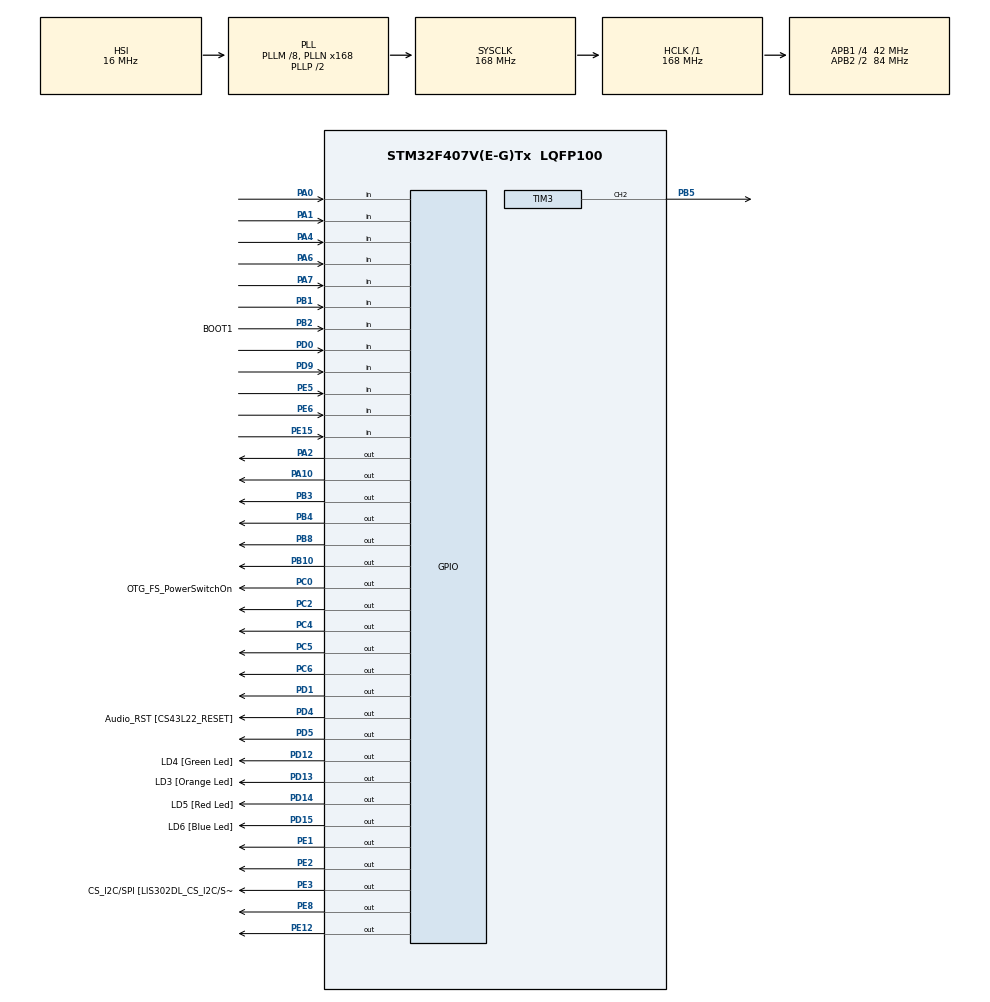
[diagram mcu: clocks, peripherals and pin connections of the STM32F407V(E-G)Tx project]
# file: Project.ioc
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Mcu.Family=STM32F4
Mcu.Name=STM32F407V(E-G)Tx
Mcu.Package=LQFP100
NVIC.PriorityGroup=NVIC_PRIORITYGROUP_0
PA0-WKUP.GPIO_PuPd=GPIO_PULLUP
PA0-WKUP.Signal=GPIO_Input
PA1.GPIO_PuPd=GPIO_PULLUP
PA1.Signal=GPIO_Input
PA10.PinState=GPIO_PIN_SET
PA10.Signal=GPIO_Output
PA11.GPIO_Label=OTG_FS_DM
PA11.GPIO_Mode=GPIO_MODE_AF_PP
PA11.GPIO_PuPd=GPIO_NOPULL
PA11.GPIO_Speed=GPIO_SPEED_FREQ_LOW
PA11.Signal=USB_OTG_FS_DM
PA12.GPIO_Label=OTG_FS_DP
PA12.GPIO_Mode=GPIO_MODE_AF_PP
PA12.GPIO_PuPd=GPIO_NOPULL
PA12.GPIO_Speed=GPIO_SPEED_FREQ_LOW
PA12.Signal=USB_OTG_FS_DP
PA13.GPIO_Label=SWDIO
PA13.Signal=SYS_JTMS-SWDIO
PA14.GPIO_Label=SWCLK
PA14.Signal=SYS_JTCK-SWCLK
PA2.Signal=GPIO_Output
PA4.GPIO_PuPd=GPIO_PULLUP
PA4.Signal=GPIO_Input
PA5.GPIO_Label=SPI1_SCK [LIS302DL_SCL/SPC]
PA5.GPIO_Mode=GPIO_MODE_AF_PP
PA5.GPIO_PuPd=GPIO_NOPULL
PA5.GPIO_Speed=GPIO_SPEED_FREQ_LOW
PA5.Signal=SPI1_SCK
PA6.GPIO_PuPd=GPIO_PULLUP
PA6.Signal=GPIO_Input
PA7.GPIO_PuPd=GPIO_PULLUP
PA7.Signal=GPIO_Input
PB1.GPIO_PuPd=GPIO_PULLUP
PB1.Signal=GPIO_Input
PB10.PinState=GPIO_PIN_RESET
PB10.Signal=GPIO_Output
PB2.GPIO_Label=BOOT1
PB2.GPIO_Mode=GPIO_MODE_INPUT
PB2.GPIO_PuPd=GPIO_NOPULL
PB2.Signal=GPIO_Input
PB3.GPIO_ModeDefaultOutputPP=GPIO_MODE_OUTPUT_PP
PB3.PinState=GPIO_PIN_SET
PB3.Signal=GPIO_Output
PB4.PinState=GPIO_PIN_SET
PB4.Signal=GPIO_Output
PB5.Signal=S_TIM3_CH2
PB6.GPIO_Label=Audio_SCL [CS43L22_SCL]
PB6.GPIO_Mode=GPIO_MODE_AF_OD
PB6.GPIO_PuPd=GPIO_NOPULL
PB6.GPIO_Speed=GPIO_SPEED_FREQ_LOW
PB6.Signal=I2C1_SCL
PB8.PinState=GPIO_PIN_SET
PB8.Signal=GPIO_Output
PB9.GPIO_Label=Audio_SDA [CS43L22_SDA]
PB9.GPIO_Mode=GPIO_MODE_AF_OD
PB9.GPIO_PuPd=GPIO_NOPULL
PB9.GPIO_Speed=GPIO_SPEED_FREQ_LOW
PB9.Signal=I2C1_SDA
PC0.GPIO_Label=OTG_FS_PowerSwitchOn
PC0.GPIO_PuPd=GPIO_NOPULL
PC0.GPIO_Speed=GPIO_SPEED_FREQ_LOW
PC0.PinState=GPIO_PIN_SET
PC0.Signal=GPIO_Output
PC10.GPIO_Label=I2S3_SCK [CS43L22_SCLK]
PC10.GPIO_Mode=GPIO_MODE_AF_PP
PC10.GPIO_PuPd=GPIO_NOPULL
PC10.GPIO_Speed=GPIO_SPEED_FREQ_LOW
PC10.Signal=I2S3_CK
PC12.GPIO_Label=I2S3_SD [CS43L22_SDIN]
PC12.GPIO_Mode=GPIO_MODE_AF_PP
PC12.GPIO_PuPd=GPIO_NOPULL
PC12.GPIO_Speed=GPIO_SPEED_FREQ_LOW
PC12.Signal=I2S3_SD
PC14-OSC32_IN.GPIO_Label=PC14-OSC32_IN
PC14-OSC32_IN.Signal=RCC_OSC32_IN
PC15-OSC32_OUT.GPIO_Label=PC15-OSC32_OUT
PC15-OSC32_OUT.Signal=RCC_OSC32_OUT
PC2.Signal=GPIO_Output
PC3.GPIO_Label=PDM_OUT [MP45DT02_DOUT]
PC3.GPIO_Mode=GPIO_MODE_AF_PP
PC3.GPIO_PuPd=GPIO_NOPULL
PC3.GPIO_Speed=GPIO_SPEED_FREQ_LOW
PC3.Signal=I2S2_SD
PC4.Signal=GPIO_Output
PC5.Signal=GPIO_Output
PC6.Signal=GPIO_Output
PC7.GPIO_Label=I2S3_MCK [CS43L22_MCLK]
PC7.GPIO_Mode=GPIO_MODE_AF_PP
PC7.GPIO_PuPd=GPIO_NOPULL
PC7.GPIO_Speed=GPIO_SPEED_FREQ_LOW
PC7.Signal=I2S3_MCK
PD0.GPIO_PuPd=GPIO_PULLUP
PD0.Signal=GPIO_Input
PD1.PinState=GPIO_PIN_SET
PD1.Signal=GPIO_Output
PD12.GPIO_Label=LD4 [Green Led]
PD12.GPIO_PuPd=GPIO_NOPULL
PD12.GPIO_Speed=GPIO_SPEED_FREQ_LOW
PD12.Signal=GPIO_Output
PD13.GPIO_Label=LD3 [Orange Led]
PD13.GPIO_PuPd=GPIO_NOPULL
PD13.GPIO_Speed=GPIO_SPEED_FREQ_LOW
PD13.Signal=GPIO_Output
PD14.GPIO_Label=LD5 [Red Led]
PD14.GPIO_PuPd=GPIO_NOPULL
PD14.GPIO_Speed=GPIO_SPEED_FREQ_LOW
PD14.Signal=GPIO_Output
PD15.GPIO_Label=LD6 [Blue Led]
PD15.GPIO_PuPd=GPIO_NOPULL
PD15.GPIO_Speed=GPIO_SPEED_FREQ_LOW
PD15.Signal=GPIO_Output
PD4.GPIO_Label=Audio_RST [CS43L22_RESET]
PD4.GPIO_PuPd=GPIO_NOPULL
PD4.GPIO_Speed=GPIO_SPEED_FREQ_LOW
PD4.Signal=GPIO_Output
PD5.GPIO_ModeDefaultOutputPP=GPIO_MODE_OUTPUT_PP
PD5.GPIO_PuPd=GPIO_NOPULL
PD5.PinState=GPIO_PIN_SET
PD5.Signal=GPIO_Output
PD9.GPIO_PuPd=GPIO_PULLUP
PD9.Signal=GPIO_Input
PE1.Signal=GPIO_Output
PE12.Signal=GPIO_Output
PE15.GPIO_PuPd=GPIO_PULLUP
PE15.Signal=GPIO_Input
PE2.PinState=GPIO_PIN_SET
PE2.Signal=GPIO_Output
PE3.GPIO_Label=CS_I2C/SPI [LIS302DL_CS_I2C/SPI]
PE3.GPIO_PuPd=GPIO_NOPULL
PE3.GPIO_Speed=GPIO_SPEED_FREQ_LOW
PE3.Signal=GPIO_Output
PE5.GPIO_PuPd=GPIO_PULLUP
PE5.Signal=GPIO_Input
PE6.GPIO_PuPd=GPIO_PULLUP
PE6.Signal=GPIO_Input
PE8.Signal=GPIO_Output
PH0-OSC_IN.GPIO_Label=PH0-OSC_IN
PH0-OSC_IN.Signal=RCC_OSC_IN
PH1-OSC_OUT.GPIO_Label=PH1-OSC_OUT
PH1-OSC_OUT.Signal=RCC_OSC_OUT
ProjectManager.HeapSize=0x200
ProjectManager.StackSize=0x400
ProjectManager.TargetToolchain=STM32CubeIDE
RCC.48MHZClocksFreq_Value=48000000
RCC.AHBFreq_Value=168000000
RCC.APB1CLKDivider=RCC_HCLK_DIV4
RCC.APB1Freq_Value=42000000
RCC.APB1TimFreq_Value=84000000
RCC.APB2CLKDivider=RCC_HCLK_DIV2
RCC.APB2Freq_Value=84000000
RCC.APB2TimFreq_Value=168000000
RCC.CortexFreq_Value=168000000
RCC.HCLKFreq_Value=168000000
RCC.HSE_VALUE=8000000
RCC.HSI_VALUE=16000000
RCC.LSE_VALUE=32768
RCC.PLLM=8
RCC.PLLN=168
RCC.PLLQ=7
RCC.SYSCLKFreq_VALUE=168000000
RCC.SYSCLKSource=RCC_SYSCLKSOURCE_PLLCLK
RCC.VCOOutputFreq_Value=336000000
SH.S_TIM3_CH2.0=TIM3_CH2,PWM Generation2 CH2
TIM3.Channel-PWM\ Generation2\ CH2=TIM_CHANNEL_2
TIM3.Period=999
TIM3.Prescaler=167
VP_TIM3_VS_ClockSourceINT.Mode=Internal
board=STM32F407G-DISC1

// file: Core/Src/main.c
/* USER CODE BEGIN Header */
/**
  ******************************************************************************
  * @file           : main.c
  * @brief          : Main program body
  ******************************************************************************
  * @attention
  *
  * Copyright (c) 2026 STMicroelectronics.
  * All rights reserved.
  *
  * This software is licensed under terms that can be found in the LICENSE file
  * in the root directory of this software component.
  * If no LICENSE file comes with this software, it is provided AS-IS.
  *
  ******************************************************************************
  */
/* USER CODE END Header */
#include "main.h"

TIM_HandleTypeDef htim3;

/* USER CODE BEGIN PV */
#define FLOOR_1 1
#define FLOOR_2 2
#define FLOOR_3 3

// Motor Cruise Speed Boundaries (Out of 1000 ARR)
#define MOTOR_MIN_SPEED 295
#define MOTOR_MAX_SPEED 320

// --- MODULAR ALIGNMENT TIMINGS (Tweak these to align the lift perfectly!) ---
uint16_t f1_align_delay = 500; // Milliseconds motor keeps running after hitting IR1
uint16_t f2_align_delay = 500; // Milliseconds motor keeps running after hitting IR2
uint16_t f3_align_delay = 500; // Milliseconds motor keeps running after hitting IR3

// Elevator State Control Variables
uint8_t current_floor = 0;
uint8_t target_floor = 1;
uint8_t is_moving = 0;
uint8_t emergency_active = 0;
uint8_t display_initialized = 0;

// High-Reliability IR Sampling Filter Variables
uint16_t f1_debounce = 0;
uint16_t f2_debounce = 0;
uint16_t f3_debounce = 0;
#define IR_THRESHOLD 25

// 7-Segment Array Matrix (Common Anode Profile)
const uint8_t seg_matrix[4][7] = {
    {0, 0, 0, 0, 0, 0, 0}, // Index 0: Completely OFF
    {0, 1, 1, 0, 0, 0, 0}, // Index 1: Floor 1 (b, c)
    {1, 1, 0, 1, 1, 0, 1}, // Index 2: Floor 2 (a, b, d, e, g)
    {1, 1, 1, 1, 0, 0, 1}  // Index 3: Floor 3 (a, b, c, d, g)
};
/* USER CODE END PV */

void SystemClock_Config(void);
static void MX_GPIO_Init(void);
static void MX_TIM3_Init(void);
/* USER CODE BEGIN PFP */
extern TIM_HandleTypeDef htim3; // Link to CubeMX generated Timer 3

void Update_7Segment(uint8_t floor_num) {
    HAL_GPIO_WritePin(GPIOD, GPIO_PIN_5,  seg_matrix[floor_num][0] ? GPIO_PIN_RESET : GPIO_PIN_SET); // a
    HAL_GPIO_WritePin(GPIOE, GPIO_PIN_2,  seg_matrix[floor_num][1] ? GPIO_PIN_RESET : GPIO_PIN_SET); // b
    HAL_GPIO_WritePin(GPIOA, GPIO_PIN_10, seg_matrix[floor_num][2] ? GPIO_PIN_RESET : GPIO_PIN_SET); // c
    HAL_GPIO_WritePin(GPIOB, GPIO_PIN_3,  seg_matrix[floor_num][3] ? GPIO_PIN_RESET : GPIO_PIN_SET); // d
    HAL_GPIO_WritePin(GPIOB, GPIO_PIN_4,  seg_matrix[floor_num][4] ? GPIO_PIN_RESET : GPIO_PIN_SET); // e
    HAL_GPIO_WritePin(GPIOD, GPIO_PIN_1,  seg_matrix[floor_num][5] ? GPIO_PIN_RESET : GPIO_PIN_SET); // f
    HAL_GPIO_WritePin(GPIOB, GPIO_PIN_8,  seg_matrix[floor_num][6] ? GPIO_PIN_RESET : GPIO_PIN_SET); // g
}

void Set_Motor_Direction(uint8_t direction) {
    if (direction == 1) { // UP
        HAL_GPIO_WritePin(GPIOC, GPIO_PIN_5, GPIO_PIN_SET);   // IN3 = HIGH
        HAL_GPIO_WritePin(GPIOC, GPIO_PIN_6, GPIO_PIN_RESET); // IN4 = LOW
    } else if (direction == 2) { // DOWN
        HAL_GPIO_WritePin(GPIOC, GPIO_PIN_5, GPIO_PIN_RESET); // IN3 = LOW
        HAL_GPIO_WritePin(GPIOC, GPIO_PIN_6, GPIO_PIN_SET);   // IN4 = HIGH
    } else { // STOP
        HAL_GPIO_WritePin(GPIOC, GPIO_PIN_5, GPIO_PIN_RESET); // IN3 = LOW
        HAL_GPIO_WritePin(GPIOC, GPIO_PIN_6, GPIO_PIN_RESET); // IN4 = LOW
        __HAL_TIM_SET_COMPARE(&htim3, TIM_CHANNEL_2, 0);      // ENB PWM = 0
    }
}

void Start_Motor_With_Ramp(uint8_t direction) {
    Set_Motor_Direction(direction);
    for (uint16_t speed = MOTOR_MIN_SPEED; speed <= MOTOR_MAX_SPEED; speed += 5) {
        __HAL_TIM_SET_COMPARE(&htim3, TIM_CHANNEL_2, speed);
        HAL_Delay(20);
    }
}

void Clear_All_Floor_LEDs(void) {
    HAL_GPIO_WritePin(GPIOC, GPIO_PIN_4,  GPIO_PIN_RESET); // Floor 1 LED
    HAL_GPIO_WritePin(GPIOE, GPIO_PIN_12, GPIO_PIN_RESET); // Floor 2 LED
    HAL_GPIO_WritePin(GPIOA, GPIO_PIN_2,  GPIO_PIN_RESET); // Floor 3 LED
}
/* USER CODE END PFP */

int main(void)
{
  HAL_Init();
  SystemClock_Config();
  MX_GPIO_Init();
  MX_TIM3_Init();

  /* USER CODE BEGIN 2 */
    Clear_All_Floor_LEDs();
    HAL_GPIO_WritePin(GPIOE, GPIO_PIN_8,  GPIO_PIN_RESET); // Up LED
    HAL_GPIO_WritePin(GPIOB, GPIO_PIN_10, GPIO_PIN_RESET); // Down LED
    HAL_GPIO_WritePin(GPIOC, GPIO_PIN_2,  GPIO_PIN_RESET); // Emergency LED
    Update_7Segment(0);                                    // Display Blank
    Set_Motor_Direction(0);                                // Motor halted

    HAL_TIM_PWM_Start(&htim3, TIM_CHANNEL_2);
    HAL_Delay(1500); // Power-on safety window

    // SMART HOMING CONFIGURATION
    if (HAL_GPIO_ReadPin(GPIOA, GPIO_PIN_0) == GPIO_PIN_RESET) current_floor = FLOOR_1;
    else if (HAL_GPIO_ReadPin(GPIOA, GPIO_PIN_4) == GPIO_PIN_RESET) current_floor = FLOOR_2;
    else if (HAL_GPIO_ReadPin(GPIOA, GPIO_PIN_6) == GPIO_PIN_RESET) current_floor = FLOOR_3;

    if (current_floor != 0) {
        target_floor = FLOOR_1;
        display_initialized = 1;
    }
    else {
        Set_Motor_Direction(2); // Drive DOWN to hunt for home
        __HAL_TIM_SET_COMPARE(&htim3, TIM_CHANNEL_2, MOTOR_MIN_SPEED);

        uint32_t hunting_timeout = HAL_GetTick();
        uint8_t floor_found = 0;

        while (!floor_found) {
            if (HAL_GPIO_ReadPin(GPIOA, GPIO_PIN_0) == GPIO_PIN_RESET) { current_floor = FLOOR_1; floor_found = 1; }
            if (HAL_GPIO_ReadPin(GPIOA, GPIO_PIN_4) == GPIO_PIN_RESET) { current_floor = FLOOR_2; floor_found = 1; }
            if (HAL_GPIO_ReadPin(GPIOA, GPIO_PIN_6) == GPIO_PIN_RESET) { current_floor = FLOOR_3; floor_found = 1; }

            if ((HAL_GetTick() - hunting_timeout) > 4000) {
                Set_Motor_Direction(1); // Reverse UP if stuck below Floor 1
                __HAL_TIM_SET_COMPARE(&htim3, TIM_CHANNEL_2, MOTOR_MIN_SPEED);

                while (!floor_found) {
                    if (HAL_GPIO_ReadPin(GPIOA, GPIO_PIN_0) == GPIO_PIN_RESET) { current_floor = FLOOR_1; floor_found = 1; }
                    if (HAL_GPIO_ReadPin(GPIOA, GPIO_PIN_4) == GPIO_PIN_RESET) { current_floor = FLOOR_2; floor_found = 1; }
                    if (HAL_GPIO_ReadPin(GPIOA, GPIO_PIN_6) == GPIO_PIN_RESET) { current_floor = FLOOR_3; floor_found = 1; }
                }
            }
        }
        Set_Motor_Direction(0); // Brake immediately
        target_floor = FLOOR_1;
        display_initialized = 1;
    }
  /* USER CODE END 2 */

  while (1)
  {
    /* ---------------- 1. PRIORITY EMERGENCY MONITORING (PD9) ---------------- */
    if (HAL_GPIO_ReadPin(GPIOD, GPIO_PIN_9) == GPIO_PIN_RESET)
    {
        HAL_Delay(40);
        if (HAL_GPIO_ReadPin(GPIOD, GPIO_PIN_9) == GPIO_PIN_RESET)
        {
            emergency_active = 1;
            target_floor = FLOOR_1;
            if (current_floor > FLOOR_1) {
                HAL_GPIO_WritePin(GPIOC, GPIO_PIN_2, GPIO_PIN_SET);
            }
        }
    }

    /* ---------------- 2. PASSENGER INPUT STORAGE MATRIX ---------------- */
    if (!emergency_active && !is_moving)
    {
        if (HAL_GPIO_ReadPin(GPIOB, GPIO_PIN_1) == GPIO_PIN_RESET)   target_floor = FLOOR_1;
        else if (HAL_GPIO_ReadPin(GPIOE, GPIO_PIN_15) == GPIO_PIN_RESET) target_floor = FLOOR_2;
        else if (HAL_GPIO_ReadPin(GPIOD, GPIO_PIN_0) == GPIO_PIN_RESET)  target_floor = FLOOR_3;

        else if (HAL_GPIO_ReadPin(GPIOE, GPIO_PIN_5) == GPIO_PIN_RESET)  target_floor = FLOOR_1;
        else if (HAL_GPIO_ReadPin(GPIOA, GPIO_PIN_7) == GPIO_PIN_RESET)  target_floor = FLOOR_2;
        else if (HAL_GPIO_ReadPin(GPIOE, GPIO_PIN_6) == GPIO_PIN_RESET)  target_floor = FLOOR_2;
        else if (HAL_GPIO_ReadPin(GPIOA, GPIO_PIN_1) == GPIO_PIN_RESET)  target_floor = FLOOR_3;
    }

    /* ---------------- 3. CORE MOTION & REALTIME SENSOR SAMPLING ENGINE ---------------- */
    if (display_initialized)
    {
        Update_7Segment(current_floor);

        // CASE A: ELEVATOR RUNNING UPWARDS
        if (current_floor < target_floor)
        {
            if (!is_moving) {
                Clear_All_Floor_LEDs();
                HAL_GPIO_WritePin(GPIOE, GPIO_PIN_8, GPIO_PIN_SET);
                HAL_GPIO_WritePin(GPIOB, GPIO_PIN_10, GPIO_PIN_RESET);
                Start_Motor_With_Ramp(1);
                is_moving = 1;
            }

            uint8_t target_pin_state = 1;
            if (current_floor + 1 == FLOOR_2)      target_pin_state = HAL_GPIO_ReadPin(GPIOA, GPIO_PIN_4);
            else if (current_floor + 1 == FLOOR_3) target_pin_state = HAL_GPIO_ReadPin(GPIOA, GPIO_PIN_6);

            if (target_pin_state == GPIO_PIN_RESET) {
                f2_debounce++;
                if (f2_debounce >= IR_THRESHOLD) {
                    f2_debounce = 0;

                    // FIX: Mechanical Alignment occurs instantly for ANY floor hit
                    if (current_floor + 1 == FLOOR_2) HAL_Delay(f2_align_delay);
                    if (current_floor + 1 == FLOOR_3) HAL_Delay(f3_align_delay);

                    current_floor++; // Update floor position tracker

                    if (current_floor == target_floor) {
                        Set_Motor_Direction(0); // Brake at destination
                        is_moving = 0;
                    }
                }
            } else {
                f2_debounce = 0;
            }
        }

        // CASE B: ELEVATOR RUNNING DOWNWARDS
        else if (current_floor > target_floor)
        {
            if (!is_moving) {
                Clear_All_Floor_LEDs();
                HAL_GPIO_WritePin(GPIOE, GPIO_PIN_8, GPIO_PIN_RESET);
                HAL_GPIO_WritePin(GPIOB, GPIO_PIN_10, GPIO_PIN_SET);
                Start_Motor_With_Ramp(2);
                is_moving = 1;
            }

            uint8_t target_pin_state = 1;
            if (current_floor - 1 == FLOOR_2)      target_pin_state = HAL_GPIO_ReadPin(GPIOA, GPIO_PIN_4);
            else if (current_floor - 1 == FLOOR_1) target_pin_state = HAL_GPIO_ReadPin(GPIOA, GPIO_PIN_0);

            if (target_pin_state == GPIO_PIN_RESET) {
                f1_debounce++;
                if (f1_debounce >= IR_THRESHOLD) {
                    f1_debounce = 0;

                    if (emergency_active) {
                        // FIX: Run alignment before braking for intermediate steps during emergency
                        if (current_floor - 1 == FLOOR_2) HAL_Delay(f2_align_delay);
                        if (current_floor - 1 == FLOOR_1) HAL_Delay(f1_align_delay);

                        current_floor--;
                        Set_Motor_Direction(0);
                        Update_7Segment(current_floor);
                        HAL_Delay(500); // Hold pause window
                        if (current_floor != target_floor) {
                            Set_Motor_Direction(2);
                            __HAL_TIM_SET_COMPARE(&htim3, TIM_CHANNEL_2, MOTOR_MAX_SPEED);
                        }
                    }
                    else {
                        // FIX: Run alignment for standard non-emergency downward steps
                        if (current_floor - 1 == FLOOR_2) HAL_Delay(f2_align_delay);
                        if (current_floor - 1 == FLOOR_1) HAL_Delay(f1_align_delay);

                        current_floor--;
                    }

                    if (current_floor == target_floor) {
                        Set_Motor_Direction(0);
                        is_moving = 0;
                    }
                }
            } else {
                f1_debounce = 0;
            }
        }

        // CASE C: CABIN IDLE AT TARGET POSITION
        else
        {
            is_moving = 0;
            Set_Motor_Direction(0);
            HAL_GPIO_WritePin(GPIOE, GPIO_PIN_8,  GPIO_PIN_RESET);
            HAL_GPIO_WritePin(GPIOB, GPIO_PIN_10, GPIO_PIN_RESET);
            Clear_All_Floor_LEDs();

            if (emergency_active && current_floor == FLOOR_1)
            {
                HAL_GPIO_WritePin(GPIOC, GPIO_PIN_2, GPIO_PIN_RESET);
                emergency_active = 0;
            }
        }

        if (is_moving || current_floor != target_floor) {
            if (target_floor == FLOOR_1) HAL_GPIO_WritePin(GPIOC, GPIO_PIN_4,  GPIO_PIN_SET);
            if (target_floor == FLOOR_2) HAL_GPIO_WritePin(GPIOE, GPIO_PIN_12, GPIO_PIN_SET);
            if (target_floor == FLOOR_3) HAL_GPIO_WritePin(GPIOA, GPIO_PIN_2,  GPIO_PIN_SET);
        }
    }
  }
}

void SystemClock_Config(void) {
  RCC_OscInitTypeDef RCC_OscInitStruct = {0};
  RCC_ClkInitTypeDef RCC_ClkInitStruct = {0};
  __HAL_RCC_PWR_CLK_ENABLE();
  __HAL_PWR_VOLTAGESCALING_CONFIG(PWR_REGULATOR_VOLTAGE_SCALE1);
  RCC_OscInitStruct.OscillatorType = RCC_OSCILLATORTYPE_HSI;
  RCC_OscInitStruct.HSIState = RCC_HSI_ON;
  RCC_OscInitStruct.HSICalibrationValue = RCC_HSICALIBRATION_DEFAULT;
  RCC_OscInitStruct.PLL.PLLState = RCC_PLL_ON;
  RCC_OscInitStruct.PLL.PLLSource = RCC_PLLSOURCE_HSI;
  RCC_OscInitStruct.PLL.PLLM = 8;
  RCC_OscInitStruct.PLL.PLLN = 168;
  RCC_OscInitStruct.PLL.PLLP = RCC_PLLP_DIV2;
  RCC_OscInitStruct.PLL.PLLQ = 7;
  HAL_RCC_OscConfig(&RCC_OscInitStruct);
  RCC_ClkInitStruct.ClockType = RCC_CLOCKTYPE_HCLK|RCC_CLOCKTYPE_SYSCLK|RCC_CLOCKTYPE_PCLK1|RCC_CLOCKTYPE_PCLK2;
  RCC_ClkInitStruct.SYSCLKSource = RCC_SYSCLKSOURCE_PLLCLK;
  RCC_ClkInitStruct.AHBCLKDivider = RCC_SYSCLK_DIV1;
  RCC_ClkInitStruct.APB1CLKDivider = RCC_HCLK_DIV4;
  RCC_ClkInitStruct.APB2CLKDivider = RCC_HCLK_DIV2;
  HAL_RCC_ClockConfig(&RCC_ClkInitStruct, FLASH_LATENCY_5);
}

static void MX_TIM3_Init(void) {
  TIM_ClockConfigTypeDef sClockSourceConfig = {0};
  TIM_MasterConfigTypeDef sMasterConfig = {0};
  TIM_OC_InitTypeDef sConfigOC = {0};
  htim3.Instance = TIM3;
  htim3.Init.Prescaler = 167;
  htim3.Init.CounterMode = TIM_COUNTERMODE_UP;
  htim3.Init.Period = 999;
  htim3.Init.ClockDivision = TIM_CLOCKDIVISION_DIV1;
  htim3.Init.AutoReloadPreload = TIM_AUTORELOAD_PRELOAD_DISABLE;
  HAL_TIM_Base_Init(&htim3);
  sClockSourceConfig.ClockSource = TIM_CLOCKSOURCE_INTERNAL;
  HAL_TIM_ConfigClockSource(&htim3, &sClockSourceConfig);
  HAL_TIM_PWM_Init(&htim3);
  sMasterConfig.MasterOutputTrigger = TIM_TRGO_RESET;
  sMasterConfig.MasterSlaveMode = TIM_MASTERSLAVEMODE_DISABLE;
  HAL_TIMEx_MasterConfigSynchronization(&htim3, &sMasterConfig);
  sConfigOC.OCMode = TIM_OCMODE_PWM1;
  sConfigOC.Pulse = 0;
  sConfigOC.OCPolarity = TIM_OCPOLARITY_HIGH;
  sConfigOC.OCFastMode = TIM_OCFAST_DISABLE;
  HAL_TIM_PWM_ConfigChannel(&htim3, &sConfigOC, TIM_CHANNEL_2);
  HAL_TIM_MspPostInit(&htim3);
}

static void MX_GPIO_Init(void) {
  GPIO_InitTypeDef GPIO_InitStruct = {0};
  __HAL_RCC_GPIOE_CLK_ENABLE();
  __HAL_RCC_GPIOC_CLK_ENABLE();
  __HAL_RCC_GPIOH_CLK_ENABLE();
  __HAL_RCC_GPIOA_CLK_ENABLE();
  __HAL_RCC_GPIOB_CLK_ENABLE();
  __HAL_RCC_GPIOD_CLK_ENABLE();

  HAL_GPIO_WritePin(GPIOE, GPIO_PIN_2, GPIO_PIN_SET);
  HAL_GPIO_WritePin(GPIOE, GPIO_PIN_8|GPIO_PIN_12|GPIO_PIN_1, GPIO_PIN_RESET);
  HAL_GPIO_WritePin(GPIOC, GPIO_PIN_2|GPIO_PIN_4|GPIO_PIN_5|GPIO_PIN_6, GPIO_PIN_RESET);
  HAL_GPIO_WritePin(GPIOA, GPIO_PIN_2, GPIO_PIN_RESET);
  HAL_GPIO_WritePin(GPIOB, GPIO_PIN_10, GPIO_PIN_RESET);
  HAL_GPIO_WritePin(GPIOD, GPIO_PIN_1|GPIO_PIN_5, GPIO_PIN_SET);
  HAL_GPIO_WritePin(GPIOA, GPIO_PIN_10, GPIO_PIN_SET);
  HAL_GPIO_WritePin(GPIOB, GPIO_PIN_3|GPIO_PIN_4|GPIO_PIN_8, GPIO_PIN_SET);

  GPIO_InitStruct.Pin = GPIO_PIN_2|GPIO_PIN_8|GPIO_PIN_12|GPIO_PIN_1;
  GPIO_InitStruct.Mode = GPIO_MODE_OUTPUT_PP;
  GPIO_InitStruct.Pull = GPIO_NOPULL;
  GPIO_InitStruct.Speed = GPIO_SPEED_FREQ_LOW;
  HAL_GPIO_Init(GPIOE, &GPIO_InitStruct);

  GPIO_InitStruct.Pin = GPIO_PIN_5|GPIO_PIN_6|GPIO_PIN_15;
  GPIO_InitStruct.Mode = GPIO_MODE_INPUT;
  GPIO_InitStruct.Pull = GPIO_PULLUP;
  HAL_GPIO_Init(GPIOE, &GPIO_InitStruct);

  GPIO_InitStruct.Pin = GPIO_PIN_2|GPIO_PIN_4|GPIO_PIN_5|GPIO_PIN_6;
  GPIO_InitStruct.Mode = GPIO_MODE_OUTPUT_PP;
  GPIO_InitStruct.Pull = GPIO_NOPULL;
  GPIO_InitStruct.Speed = GPIO_SPEED_FREQ_LOW;
  HAL_GPIO_Init(GPIOC, &GPIO_InitStruct);

  GPIO_InitStruct.Pin = GPIO_PIN_0|GPIO_PIN_1|GPIO_PIN_4|GPIO_PIN_6|GPIO_PIN_7;
  GPIO_InitStruct.Mode = GPIO_MODE_INPUT;
  GPIO_InitStruct.Pull = GPIO_PULLUP;
  HAL_GPIO_Init(GPIOA, &GPIO_InitStruct);

  GPIO_InitStruct.Pin = GPIO_PIN_2|GPIO_PIN_10;
  GPIO_InitStruct.Mode = GPIO_MODE_OUTPUT_PP;
  GPIO_InitStruct.Pull = GPIO_NOPULL;
  GPIO_InitStruct.Speed = GPIO_SPEED_FREQ_LOW;
  HAL_GPIO_Init(GPIOA, &GPIO_InitStruct);

  GPIO_InitStruct.Pin = GPIO_PIN_1;
  GPIO_InitStruct.Mode = GPIO_MODE_INPUT;
  GPIO_InitStruct.Pull = GPIO_PULLUP;
  HAL_GPIO_Init(GPIOB, &GPIO_InitStruct);

  GPIO_InitStruct.Pin = GPIO_PIN_10|GPIO_PIN_3|GPIO_PIN_4|GPIO_PIN_8;
  GPIO_InitStruct.Mode = GPIO_MODE_OUTPUT_PP;
  GPIO_InitStruct.Pull = GPIO_NOPULL;
  GPIO_InitStruct.Speed = GPIO_SPEED_FREQ_LOW;
  HAL_GPIO_Init(GPIOB, &GPIO_InitStruct);

  GPIO_InitStruct.Pin = GPIO_PIN_9|GPIO_PIN_0;
  GPIO_InitStruct.Mode = GPIO_MODE_INPUT;
  GPIO_InitStruct.Pull = GPIO_PULLUP;
  HAL_GPIO_Init(GPIOD, &GPIO_InitStruct);

  GPIO_InitStruct.Pin = GPIO_PIN_1|GPIO_PIN_5;
  GPIO_InitStruct.Mode = GPIO_MODE_OUTPUT_PP;
  GPIO_InitStruct.Pull = GPIO_NOPULL;
  GPIO_InitStruct.Speed = GPIO_SPEED_FREQ_LOW;
  HAL_GPIO_Init(GPIOD, &GPIO_InitStruct);
}
